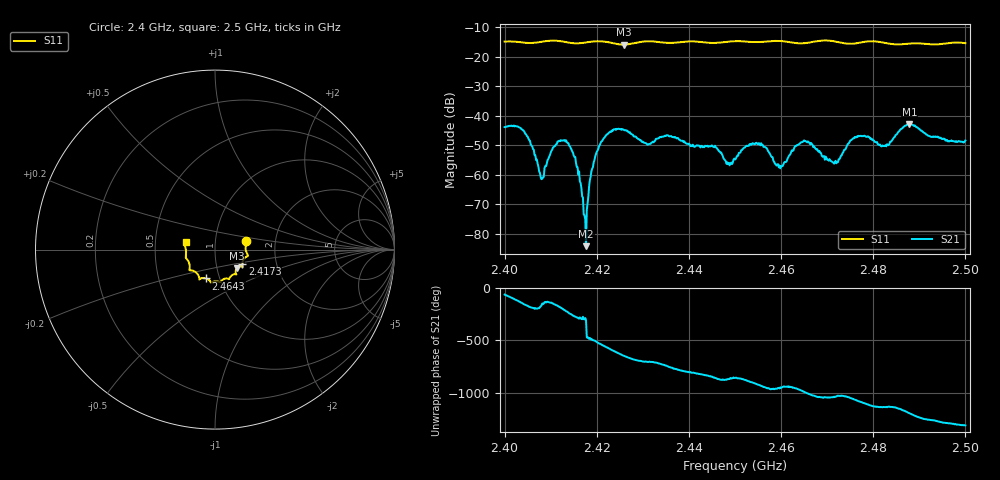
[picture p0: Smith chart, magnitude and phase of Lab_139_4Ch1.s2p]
# Hz S RI R 50
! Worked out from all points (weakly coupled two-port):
!   601 points, 2.4 GHz to 2.5 GHz, reference 50 ohm
!   highest |S21| = -42.92 dB at 2.4878 GHz (marker M1); lowest = -84.3 dB at 2.4177 GHz (marker M2)
!   lowest |S11| = -15.9 dB at 2.4258 GHz (marker M3), VSWR 1.38, Z = 62.3 - j13.2 ohm
!   |S11| at or under -10 dB: start of sweep to end of sweep
!   S12 and S22 are empty: the file has one direction only
!   S11 on the Smith chart (normalised r, x): 2.4 GHz: 1.41, +0.14; 2.4173 GHz: 1.34, -0.23; 2.4643 GHz: 0.86, -0.28; 2.5 GHz: 0.72, +0.06
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2.4e9  0.1732 0.0494  0.00327 -0.00548  0 0  0 0
2.4045e9  0.1708 0.0195  -0.00454 -0.00186  0 0  0 0
2.408e9  0.1779 -0.0205  -0.000803 -0.000231  0 0  0 0
2.410667e9  0.1837 -0.034  -0.00255 -0.00148  0 0  0 0
2.413333e9  0.1712 -0.0426  -0.00295 0.00243  0 0  0 0
2.416667e9  0.1528 -0.0742  0.00023 0.000539  0 0  0 0
2.417333e9  0.1523 -0.0817  9.49e-05 0.000181  0 0  0 0
2.417667e9  0.1523 -0.0851  3.4e-05 5.08e-05  0 0  0 0
2.418833e9  0.1533 -0.094  -0.000767 -0.000836  0 0  0 0
2.4205e9  0.1547 -0.0972  -0.00299 -0.000546  0 0  0 0
2.425833e9  0.1219 -0.1036  0.00161 0.00555  0 0  0 0
2.433333e9  0.1131 -0.137  0.0041 7.09e-05  0 0  0 0
2.45e9  0.0294 -0.1808  -0.00136 -0.00118  0 0  0 0
2.455167e9  0.0004 -0.1769  -0.00309 0.00147  0 0  0 0
2.46e9  -0.0234 -0.1823  -0.00079 0.00114  0 0  0 0
2.464333e9  -0.0499 -0.1606  -0.000624 0.00347  0 0  0 0
2.466667e9  -0.0758 -0.1597  0.00188 0.00271  0 0  0 0
2.471833e9  -0.0878 -0.1577  0.00128 0.00114  0 0  0 0
2.4765e9  -0.1218 -0.1179  0.00446 0.000188  0 0  0 0
2.483333e9  -0.1407 -0.0899  0.00181 -0.00258  0 0  0 0
2.487833e9  -0.159 -0.0516  -0.00329 -0.00634  0 0  0 0
2.5e9  -0.1639 0.0425  -0.00215 0.00312  0 0  0 0
